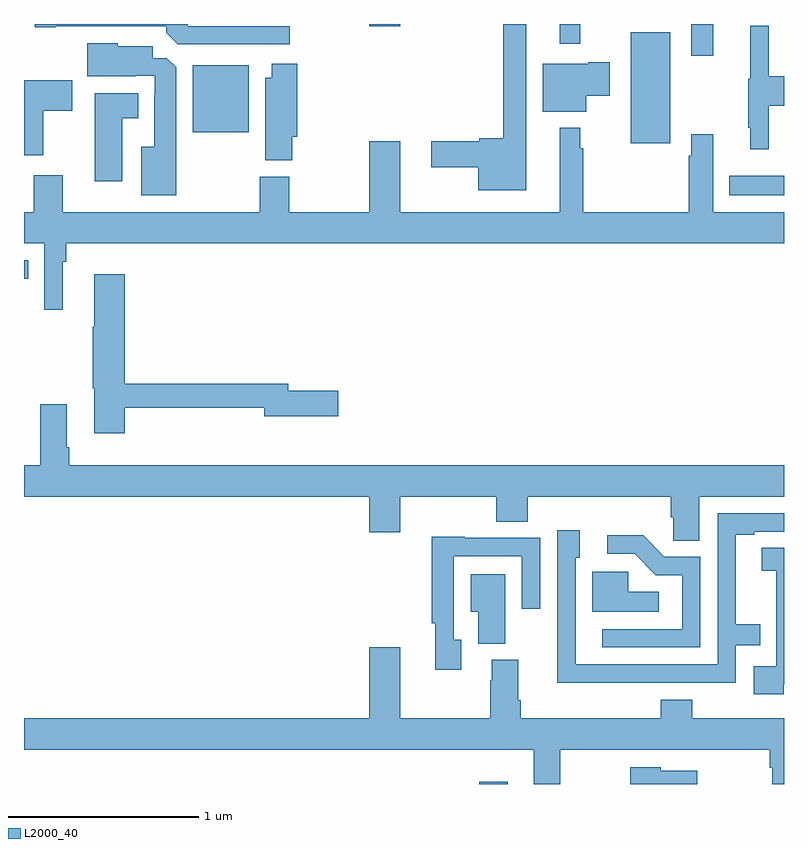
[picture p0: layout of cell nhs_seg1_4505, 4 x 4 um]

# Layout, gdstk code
import gdstk
lib = gdstk.Library(unit=1e-6, precision=1e-09)
def R(c, l, rs):  # rectangles x0, y0, x1, y1
    for r in rs: c.add(gdstk.rectangle(r[:2], r[2:], *l))
def P(c, l, *ps):  # polygons
    for p in ps: c.add(gdstk.Polygon(p, *l))
L2000_40 = (2000, 40)

nhs_seg1_4505 = lib.new_cell('nhs_seg1_4505')
R(nhs_seg1_4505, L2000_40, [(357.395,570.199,357.547,570.211), (355,572.859,355.022,572.955), (358.712,573.299,359,573.4), (358.193,573.572,358.402,574.156), (355.889,573.629,356.182,573.982), (358.511,574.032,358.627,574.199), (357.821,574.095,357.928,574.199), (356.816,574.188,356.98,574.199)])
P(nhs_seg1_4505, L2000_40, [(356.398,574.188),(355.863,574.188),(355.863,574.199),(355.056,574.199),(355.056,574.183),(355.168,574.183),(355.168,574.188),(355.748,574.188),(355.748,574.154),(355.809,574.092),(356.398,574.092)],
  [(357.643,574.199),(357.522,574.199),(357.522,573.599),(357.396,573.599),(357.396,573.581),(357.144,573.581),(357.144,573.446),(357.392,573.446),(357.392,573.323),(357.643,573.323)],
  [(358.921,573.769),(359,573.769),(359,573.924),(358.921,573.924),(358.921,574.189),(358.823,574.189),(358.823,573.912),(358.812,573.912),(358.812,573.652),(358.823,573.652),(358.823,573.54),(358.921,573.54)],
  [(355.801,573.971),(355.752,574.02),(355.678,574.02),(355.678,574.081),(355.494,574.081),(355.494,574.099),(355.334,574.099),(355.334,573.923),(355.589,573.923),(355.589,573.927),(355.689,573.927),(355.689,573.827),(355.685,573.827),(355.685,573.553),(355.616,573.553),(355.616,573.299),(355.801,573.299)],
  [(357.958,573.821),(358.084,573.821),(358.084,573.999),(357.971,573.999),(357.971,573.991),(357.731,573.991),(357.731,573.737),(357.958,573.737)],
  [(356.412,573.606),(356.438,573.606),(356.438,573.991),(356.303,573.991),(356.303,573.916),(356.27,573.916),(356.27,573.481),(356.412,573.481)],
  [(355.102,573.742),(355.255,573.742),(355.255,573.904),(355,573.904),(355,573.509),(355.102,573.509)],
  [(355.516,573.704),(355.6,573.704),(355.6,573.835),(355.373,573.835),(355.373,573.372),(355.516,573.372)],
  [(355.204,572.948),(355.223,572.948),(355.223,573.044),(359,573.044),(359,573.208),(358.627,573.208),(358.627,573.619),(358.511,573.619),(358.511,573.506),(358.499,573.506),(358.499,573.208),(357.943,573.208),(357.943,573.545),(357.928,573.545),(357.928,573.652),(357.821,573.652),(357.821,573.208),(356.98,573.208),(356.98,573.583),(356.816,573.583),(356.816,573.208),(356.397,573.208),(356.397,573.396),(356.242,573.396),(356.242,573.208),(355.204,573.208),(355.204,573.403),(355.052,573.403),(355.052,573.208),(355,573.208),(355,573.044),(355.107,573.044),(355.107,572.694),(355.204,572.694)],
  [(355.529,572.178),(356.264,572.178),(356.264,572.135),(356.653,572.135),(356.653,572.27),(356.392,572.27),(356.392,572.306),(355.529,572.306),(355.529,572.881),(355.37,572.881),(355.37,572.606),(355.363,572.606),(355.363,572.283),(355.37,572.283),(355.37,572.046),(355.529,572.046)],
  [(358.555,571.712),(359,571.712),(359,571.876),(355.238,571.876),(355.238,571.972),(355.225,571.972),(355.225,572.197),(355.085,572.197),(355.085,571.876),(355,571.876),(355,571.712),(356.816,571.712),(356.816,571.524),(356.98,571.524),(356.98,571.712),(357.485,571.712),(357.485,571.579),(357.65,571.579),(357.65,571.712),(358.403,571.712),(358.403,571.603),(358.416,571.603),(358.416,571.48),(358.555,571.48)],
  [(358.268,570.732),(358.746,570.732),(358.746,570.93),(358.874,570.93),(358.874,571.039),(358.747,571.039),(358.747,571.512),(358.843,571.512),(358.843,571.527),(359,571.527),(359,571.623),(358.65,571.623),(358.65,570.828),(357.903,570.828),(357.903,571.389),(357.925,571.389),(357.925,571.534),(357.807,571.534),(357.807,571.034),(357.806,571.034),(357.806,570.731),(358.268,570.731)],
  [(358.56,571.395),(358.371,571.395),(358.258,571.508),(358.071,571.508),(358.071,571.41),(358.215,571.41),(358.326,571.299),(358.464,571.299),(358.464,571.014),(358.044,571.014),(358.044,570.918),(358.56,570.918)],
  [(357.301,570.957),(357.261,570.957),(357.261,571.398),(357.621,571.398),(357.621,571.122),(357.717,571.122),(357.717,571.494),(357.321,571.494),(357.321,571.501),(357.145,571.501),(357.145,571.045),(357.164,571.045),(357.164,570.801),(357.301,570.801)],
  [(358.998,570.723),(359,570.723),(359,571.442),(358.884,571.442),(358.884,571.321),(358.958,571.321),(358.958,571.123),(358.959,571.123),(358.959,570.819),(358.842,570.819),(358.842,570.672),(358.998,570.672)],
  [(358.342,571.21),(358.179,571.21),(358.179,571.317),(357.992,571.317),(357.992,571.106),(358.342,571.106)],
  [(357.532,571.303),(357.35,571.303),(357.35,571.106),(357.392,571.106),(357.392,570.937),(357.532,570.937)],
  [(357.683,570.199),(357.823,570.199),(357.823,570.38),(358.926,570.38),(358.926,570.284),(358.938,570.284),(358.938,570.199),(359,570.199),(359,570.544),(358.517,570.544),(358.517,570.643),(358.352,570.643),(358.352,570.544),(357.614,570.544),(357.614,570.64),(357.601,570.64),(357.601,570.852),(357.461,570.852),(357.461,570.746),(357.454,570.746),(357.454,570.544),(356.98,570.544),(356.98,570.919),(356.816,570.919),(356.816,570.544),(355,570.544),(355,570.38),(357.683,570.38)],
  [(358.543,570.268),(358.35,570.268),(358.35,570.286),(358.19,570.286),(358.19,570.199),(358.543,570.199)])

lib.write_gds('nhs_seg1_4505.gds')
